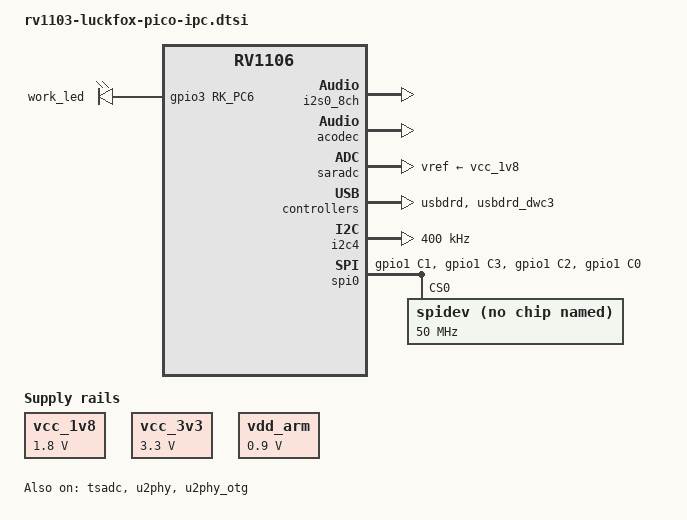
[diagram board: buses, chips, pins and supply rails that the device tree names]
// SPDX-License-Identifier: (GPL-2.0+ OR MIT)
/*
 * Copyright (c) 2022 Rockchip Electronics Co., Ltd.
 */
#include "rv1106-amp.dtsi"

/ {
	chosen {
		bootargs = "earlycon=uart8250,mmio32,0xff4c0000 console=ttyFIQ0 root=/dev/mmcblk1p7 rootwait snd_soc_core.prealloc_buffer_size_kbytes=16 coherent_pool=0";
	};

	acodec_sound: acodec-sound {
		compatible = "simple-audio-card";
		simple-audio-card,name = "rv-acodec";
		simple-audio-card,format = "i2s";
		simple-audio-card,mclk-fs = <256>;
		simple-audio-card,cpu {
			sound-dai = <&i2s0_8ch>;
		};
		simple-audio-card,codec {
			sound-dai = <&acodec>;
		};
	};

	vcc_1v8: vcc-1v8 {
		compatible = "regulator-fixed";
		regulator-name = "vcc_1v8";
		regulator-always-on;
		regulator-boot-on;
		regulator-min-microvolt = <1800000>;
		regulator-max-microvolt = <1800000>;
	};

	vcc_3v3: vcc-3v3 {
		compatible = "regulator-fixed";
		regulator-name = "vcc_3v3";
		regulator-always-on;
		regulator-boot-on;
		regulator-min-microvolt = <3300000>;
		regulator-max-microvolt = <3300000>;
	};

	vdd_arm: vdd-arm {
		compatible = "regulator-fixed";
		regulator-name = "vdd_arm";
		regulator-min-microvolt = <900000>;
		regulator-max-microvolt = <900000>;
		regulator-always-on;
		regulator-boot-on;
	};
	leds: leds {
		compatible = "gpio-leds";
		work_led: work{
			gpios = <&gpio3 RK_PC6 GPIO_ACTIVE_HIGH>;
			linux,default-trigger = "activity";
			default-state = "on";
		};
	};

};

/***************************** AUDIO ********************************/
&i2s0_8ch {
	#sound-dai-cells = <0>;
	status = "okay";
};

&acodec {
	#sound-dai-cells = <0>;
	pa-ctl-gpios = <&gpio1 RK_PA1 GPIO_ACTIVE_HIGH>;
	status = "okay";
};

/***************************** CPU ********************************/
&cpu0 {
	cpu-supply = <&vdd_arm>;
};

/***************************** ADC ********************************/
&saradc {
	status = "okay";
	vref-supply = <&vcc_1v8>;
};
&tsadc {
	status = "okay";
};


/***************************** USB *********************************/
&u2phy {
	status = "okay";
};

&u2phy_otg {
	status = "okay";
};

&usbdrd {
	status = "okay";
};

&usbdrd_dwc3 {
	extcon = <&u2phy>;
	status = "okay";
};

/*****************************CSI ********************************/
&csi2_dphy_hw {
	status = "disabled";
};

&csi2_dphy0 {
	status = "disabled";

	ports {
		#address-cells = <1>;
		#size-cells = <0>;

		port@0 {
			reg = <0>;
			#address-cells = <1>;
			#size-cells = <0>;
		};

		port@1 {
			reg = <1>;
			#address-cells = <1>;
			#size-cells = <0>;

			csi_dphy_output: endpoint@0 {
				reg = <0>;
				remote-endpoint = <&mipi_csi2_input>;
			};
		};
	};
};

&i2c4 {
	status = "okay";
	clock-frequency = <400000>;
	pinctrl-names = "default";
	pinctrl-0 = <&i2c4m2_xfer>;
};

&mipi0_csi2 {
	status = "disabled";

	ports {
		#address-cells = <1>;
		#size-cells = <0>;

		port@0 {
			reg = <0>;
			#address-cells = <1>;
			#size-cells = <0>;

			mipi_csi2_input: endpoint@1 {
				reg = <1>;
				remote-endpoint = <&csi_dphy_output>;
			};
		};

		port@1 {
			reg = <1>;
			#address-cells = <1>;
			#size-cells = <0>;

			mipi_csi2_output: endpoint@0 {
				reg = <0>;
				remote-endpoint = <&cif_mipi_in>;
			};
		};
	};
};

&rkcif {
	status = "disabled";
};

&rkcif_mipi_lvds {
	status = "disabled";

	pinctrl-names = "default";
	pinctrl-0 = <&mipi_pins>;
	port {
		/* MIPI CSI-2 endpoint */
		cif_mipi_in: endpoint {
			remote-endpoint = <&mipi_csi2_output>;
		};
	};
};

&rkcif_mipi_lvds_sditf {
	status = "disabled";

	port {
		/* MIPI CSI-2 endpoint */
		mipi_lvds_sditf: endpoint {
			remote-endpoint = <&isp_in>;
		};
	};
};

&rkisp {
	status = "disabled";
};

&rkisp_vir0 {
	status = "disabled";

	port@0 {
		isp_in: endpoint {
			remote-endpoint = <&mipi_lvds_sditf>;
		};
	};
};


/***************************** PINCTRL ********************************/
// SPI
&spi0 {
	pinctrl-0 = <&spi0m0_clk &spi0m0_miso &spi0m0_mosi &spi0m0_cs0>;
	#address-cells = <1>;
	#size-cells = <0>;

	spidev@0 {
		compatible = "rockchip,spidev";
		spi-max-frequency = <50000000>;
		reg = <0>;
	};
};
// I2C
&i2c3 {
	pinctrl-0 = <&i2c3m1_xfer>;
};
&i2c0 {
	pinctrl-0 = <&i2c0m2_xfer>;
};
// UART
&uart3 {
	pinctrl-0 = <&uart3m1_xfer>;
};
&uart4 {
	pinctrl-0 = <&uart4m1_xfer>;
};
&uart5 {
	pinctrl-0 = <&uart5m0_xfer>;
};

// PWM
&pwm0 {
	pinctrl-0 = <&pwm0m0_pins &pwm0m1_pins>;
};
&pwm1 {
	pinctrl-0 = <&pwm1m0_pins>;
};
&pwm2 {
	pinctrl-0 = <&pwm2m2_pins>;
};
&pwm3 {
	pinctrl-0 = <&pwm3m2_pins>;
};
&pwm4 {
	pinctrl-0 = <&pwm4m2_pins>;
};
&pwm5 {
	pinctrl-0 = <&pwm5m2_pins>;
};
&pwm6 {
	pinctrl-0 = <&pwm6m2_pins>;
};
&pwm8 {
	pinctrl-0 = <&pwm8m0_pins &pwm8m1_pins>;
};
&pwm9 {
	pinctrl-0 = <&pwm9m0_pins &pwm9m1_pins>;
};
&pwm10 {
	pinctrl-0 = <&pwm10m0_pins &pwm10m1_pins>;
};
&pwm11 {
	pinctrl-0 = <&pwm11m0_pins &pwm11m1_pins>;
};

&pinctrl {
	spi0 {
		spi0m0_clk: spi0m0-clk {
			rockchip,pins = <1 RK_PC1 4 &pcfg_pull_none>;
		};
		spi0m0_mosi: spi0m0-mosi {
			rockchip,pins = <1 RK_PC2 6 &pcfg_pull_none>;
		};
		spi0m0_miso: spi0m0-miso {
			rockchip,pins = <1 RK_PC3 6 &pcfg_pull_none>;
		};
		spi0m0_cs0: spi0m0-cs0 {
			rockchip,pins = <1 RK_PC0 4 &pcfg_pull_none>;
		};
	};

	gpio1-pc7 {
		gpio1_pc7: gpio1-pc7 {
			rockchip,pins = <1 RK_PC7 RK_FUNC_GPIO &pcfg_pull_none>;
		};
	};
};
